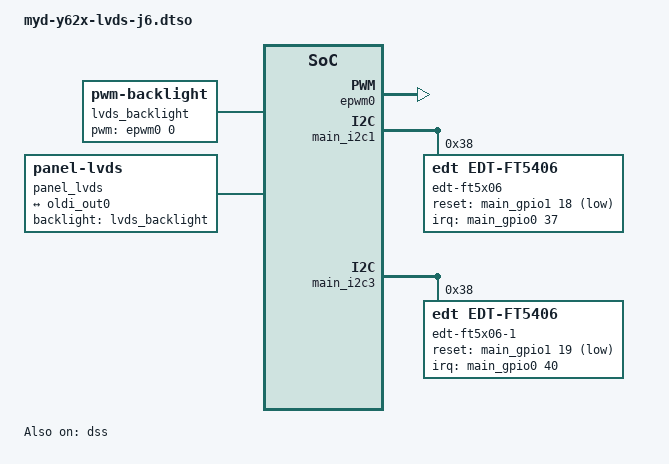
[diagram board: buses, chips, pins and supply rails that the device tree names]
// SPDX-License-Identifier: GPL-2.0
// SPDX-License-Identifier: GPL-2.0
/*
 * ALINX AN5641 & Digilent PCam 5C - OV5640 camera module
 * Copyright (C) 2022 Texas Instruments Incorporated - https://www.ti.com/
 */


/dts-v1/;
/plugin/;

#include <dt-bindings/gpio/gpio.h>
#include <dt-bindings/interrupt-controller/irq.h>

#include "k3-pinctrl.h"

&{/} {

	lvds_backlight: lvds_backlight {
					compatible = "pwm-backlight";
					pwms = <&epwm0 0 100000 1>;
					status = "okay";
					pinctrl-names = "default";
					brightness-levels = < 0  1  2  3  4  5  6  7  8  9
							     10 11 12 13 14 15 16 17 18 19
							     20 21 22 23 24 25 26 27 28 29
							     30 31 32 33 34 35 36 37 38 39
							     40 41 42 43 44 45 46 47 48 49
							     50 51 52 53 54 55 56 57 58 59
							     60 61 62 63 64 65 66 67 68 69
							     70 71 72 73 74 75 76 77 78 79
							     80 81 82 83 84 85 86 87 88 89
							     90 91 92 93 94 95 96 97 98 99
							    100>;
					default-brightness-level = <80>;
				};

			
				panel_lvds: panel-lvds {
		    compatible = "panel-lvds";
		    backlight = <&lvds_backlight>;
    
				width-mm = <154>;
				height-mm = <85>;
		    data-mapping = "vesa-24";
				panel-timing {
						clock-frequency = <38000000>;
						hactive = <1024>;
						hfront-porch = <88>;
						hsync-len = <6>;
						hback-porch = <176>;
						 
						vactive = <600>;
						vfront-porch = <25>; 
						vsync-len = <5>;
						vback-porch = <20>;
						
						hsync-active = <0>;
						vsync-active = <1>;
						de-active = <1>;
						pixelclk-active = <0>;
			  };

					ports {
						#address-cells = <1>;
						#size-cells = <0>;
						port@0 {
						
							lcd_in0: endpoint {
								remote-endpoint = <&oldi_out0>;
							};
						};

	
		
		};
	};
	
};

&main_pmx0 {
	main_oldi0_pins_default: main-oldi0-pins-default {
		pinctrl-single,pins = <
			AM62X_IOPAD(0x0260, PIN_OUTPUT, 0) /* (AA5) OLDI0_A0N */
			AM62X_IOPAD(0x025c, PIN_OUTPUT, 0) /* (Y6) OLDI0_A0P */
			AM62X_IOPAD(0x0268, PIN_OUTPUT, 0) /* (AD3) OLDI0_A1N */
			AM62X_IOPAD(0x0264, PIN_OUTPUT, 0) /* (AB4) OLDI0_A1P */
			AM62X_IOPAD(0x0270, PIN_OUTPUT, 0) /* (Y8) OLDI0_A2N */
			AM62X_IOPAD(0x026c, PIN_OUTPUT, 0) /* (AA8) OLDI0_A2P */
			AM62X_IOPAD(0x0278, PIN_OUTPUT, 0) /* (AB6) OLDI0_A3N */
			AM62X_IOPAD(0x0274, PIN_OUTPUT, 0) /* (AA7) OLDI0_A3P */
			AM62X_IOPAD(0x0280, PIN_OUTPUT, 0) /* (AC6) OLDI0_A4N */
			AM62X_IOPAD(0x027c, PIN_OUTPUT, 0) /* (AC5) OLDI0_A4P */
			AM62X_IOPAD(0x0288, PIN_OUTPUT, 0) /* (AE5) OLDI0_A5N */
			AM62X_IOPAD(0x0284, PIN_OUTPUT, 0) /* (AD6) OLDI0_A5P */
			AM62X_IOPAD(0x0290, PIN_OUTPUT, 0) /* (AE6) OLDI0_A6N */
			AM62X_IOPAD(0x028c, PIN_OUTPUT, 0) /* (AD7) OLDI0_A6P */
			AM62X_IOPAD(0x0298, PIN_OUTPUT, 0) /* (AD8) OLDI0_A7N */
			AM62X_IOPAD(0x0294, PIN_OUTPUT, 0) /* (AE7) OLDI0_A7P */
			AM62X_IOPAD(0x02a0, PIN_OUTPUT, 0) /* (AD4) OLDI0_CLK0N */
			AM62X_IOPAD(0x029c, PIN_OUTPUT, 0) /* (AE3) OLDI0_CLK0P */
			AM62X_IOPAD(0x02a8, PIN_OUTPUT, 0) /* (AE4) OLDI0_CLK1N */
			AM62X_IOPAD(0x02a4, PIN_OUTPUT, 0) /* (AD5) OLDI0_CLK1P */
		>;
	};

	main_lvds0_tpcs_pins_default: main-lvds0-tpcs-pins-default {
		pinctrl-single,pins = <
			AM62X_IOPAD(0x01c0, PIN_OUTPUT, 7) /* (B13) SPI0_D0.GPIO1_18 */
			AM62X_IOPAD(0x0098, PIN_INPUT, 7) /* (U23) GPMC0_WAIT0.GPIO0_37 */
		>;
	};

	main_lvds1_tpcs_pins_default: main-lvds1-tpcs-pins-default {
		pinctrl-single,pins = <
			AM62X_IOPAD(0x01c4, PIN_OUTPUT, 7) /* (B14) SPI0_D1.GPIO1_19 */
			AM62X_IOPAD(0x00a4, PIN_INPUT, 7) /* (M22) GPMC0_CLK.GPIO0_40*/
		>;
	};

	epwm0_b_pins_default: epwm0-b-pins-default {
		pinctrl-single,pins = <
			AM62X_IOPAD(0x01b8, PIN_OUTPUT, 7) /* (C13) SPI0_CS1.EHRPWM0_B */
		>;
	};
	
	epwm0_a_pins_default: epwm0-a-pins-default {
		pinctrl-single,pins = <
			AM62X_IOPAD(0x01b4, PIN_OUTPUT, 7) /* (A13) SPI0_CS0.EHRPWM0_A */
		>;
	};


};



&dss {
	pinctrl-names = "default";
	pinctrl-0 = <&main_oldi0_pins_default &main_dss0_pins_default>;
	status = "okay";
};

&dss_ports {
	#address-cells = <1>;
	#size-cells = <0>;

	/* VP1: LVDS Output (OLDI TX 0) */
	port@0 {
		reg = <0>;
		oldi_out0: endpoint {
			remote-endpoint = <&lcd_in0>;
		};
	};


	

};

 &epwm0 {
 	pinctrl-names = "default";
 	pinctrl-0 = <&epwm0_a_pins_default &epwm0_b_pins_default>;
 	status = "okay";
 };



&main_i2c1 {
	#address-cells = <1>;
	#size-cells = <0>;

	edt-ft5x06@38 {
		compatible = "edt,edt-ft5406";
		reg = <0x38>;
		pinctrl-names = "default";
		pinctrl-0 = <&main_lvds0_tpcs_pins_default>;
		interrupt-parent = <&main_gpio0>;
		interrupts = <37 IRQ_TYPE_EDGE_FALLING>;
		reset-gpios = <&main_gpio1 18 GPIO_ACTIVE_LOW>;
		// wake-gpios = <&gpio4 9 GPIO_ACTIVE_HIGH>;
		touchscreen-size-x=<1024>;
		touchscreen-size-y=<600>;
		status = "okay";
	};
};

&main_i2c3 {
	#address-cells = <1>;
	#size-cells = <0>;

	edt-ft5x06-1@38 {
		compatible = "edt,edt-ft5406";
		reg = <0x38>;
		pinctrl-names = "default";
		pinctrl-0 = <&main_lvds1_tpcs_pins_default>;
		interrupt-parent = <&main_gpio0>;
		interrupts = <40 IRQ_TYPE_EDGE_FALLING>;
		reset-gpios = <&main_gpio1 19 GPIO_ACTIVE_LOW>;
		// wake-gpios = <&gpio4 9 GPIO_ACTIVE_HIGH>;
		touchscreen-size-x=<1024>;
		touchscreen-size-y=<600>;
		status = "okay";
	};
};
